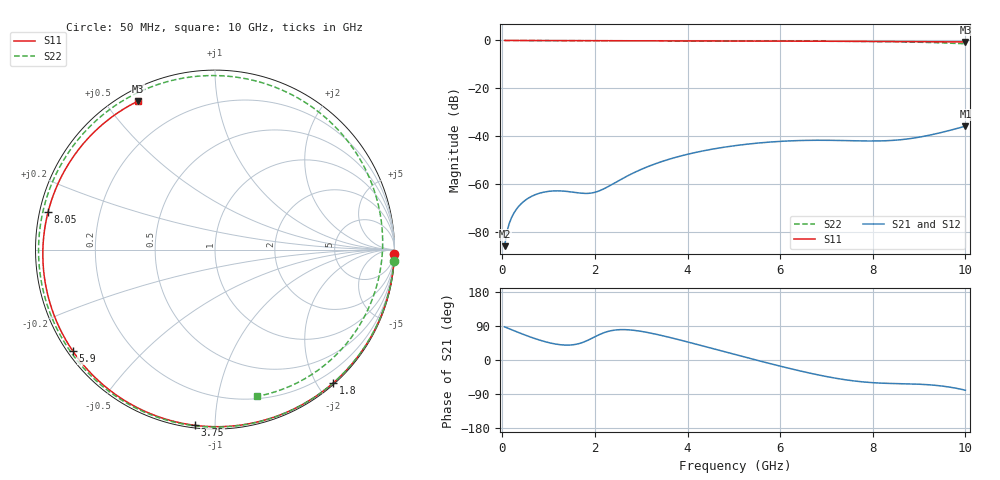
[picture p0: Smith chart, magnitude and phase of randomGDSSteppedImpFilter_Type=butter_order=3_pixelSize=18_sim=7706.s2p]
! freq	dB(S11)	phase(S11)	dB(S12)	phase(S12)
!  dB(S21)	phase(S21)	dB(S22)	phase(S22)
!S-par simulation data
#  GHz  S  DB  R 50
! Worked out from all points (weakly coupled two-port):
!   200 points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, 50 MHz to 10 GHz, reference 50 ohm
!   highest |S21| = -35.76 dB at 10 GHz (marker M1); lowest = -85.8 dB at 50 MHz (marker M2)
!   lowest |S11| = -0.6 dB at 10 GHz (marker M3), VSWR 28.42, Z = 2.4 + j30.2 ohm
!   |S11| at or under -10 dB: nowhere
!   |S22| runs from -1.4 to 0.0 dB; largest |S21 - S12| = 0
!   S11 on the Smith chart (normalised r, x): 50 MHz: 0, -82; 1.8 GHz: 0.02, -2.22; 3.75 GHz: 0.01, -0.89; 5.9 GHz: 0.02, -0.32; 8.05 GHz: 0.02, +0.11; 10 GHz: 0.05, +0.60
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0.05  -0.00 -1.4  -85.80 87.5  -85.80 87.5  -0.00 -3.8
0.1  -0.00 -2.8  -79.81 84.9  -79.81 84.9  -0.01 -7.5
0.2  -0.01 -5.5  -73.88 79.9  -73.88 79.9  -0.02 -14.9
0.3  -0.01 -8.3  -70.52 75.0  -70.52 75.0  -0.03 -22.2
0.65  -0.02 -17.8  -64.86 58.8  -64.86 58.8  -0.06 -47.0
1.15  -0.04 -31.4  -62.73 42.1  -62.73 42.1  -0.09 -79.0
1.75  -0.06 -47.2  -63.77 47.0  -63.77 47.0  -0.11 -111.5
1.8  -0.06 -48.5  -63.80 49.5  -63.80 49.5  -0.11 -113.9
2.1  -0.07 -56.3  -62.68 67.2  -62.68 67.2  -0.12 -127.8
2.55  -0.09 -67.6  -58.09 80.1  -58.09 80.1  -0.13 -146.6
3.4  -0.11 -88.3  -50.79 65.8  -50.79 65.8  -0.15 -177.4
3.75  -0.13 -96.6  -48.72 55.5  -48.72 55.5  -0.16 171.0
5.05  -0.19 -126.0  -43.81 13.7  -43.81 13.7  -0.20 129.9
5.9  -0.24 -144.6  -42.22 -13.2  -42.22 -13.2  -0.25 102.7
6.7  -0.30 -162.1  -41.64 -36.2  -41.64 -36.2  -0.30 75.6
7.35  -0.35 -176.6  -41.74 -51.1  -41.74 -51.1  -0.36 52.1
8.05  -0.42 167.3  -41.93 -60.2  -41.93 -60.2  -0.46 24.6
8.35  -0.44 160.2  -41.77 -61.8  -41.77 -61.8  -0.52 12.0
8.8  -0.49 149.2  -40.95 -63.1  -40.95 -63.1  -0.66 -8.2
9.2  -0.53 139.0  -39.61 -65.3  -39.61 -65.3  -0.83 -27.7
9.6  -0.57 128.5  -37.81 -70.5  -37.81 -70.5  -1.07 -49.3
10  -0.61 117.6  -35.76 -79.7  -35.76 -79.7  -1.41 -73.9
